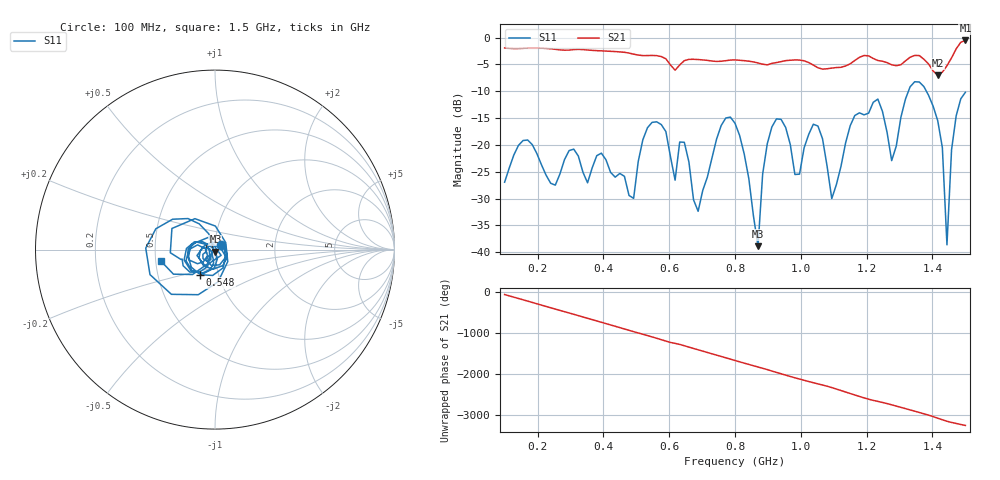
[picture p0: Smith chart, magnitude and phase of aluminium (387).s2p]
! NanoVNA-App
! Date: 2025-09-25 14:58:17
! Start: 100MHz Stop: 1,5GHz Points: 101
! S-Parameter data: F S11 S21 S12 S22
# Hz S RI R 50
!  Frequency  S11_Real  S11_Imag  S21_Real  S21_Imag  S12_Real  S12_Imag  S22_Real  S22_Imag
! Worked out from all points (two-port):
!   101 points, 100 MHz to 1.5 GHz, reference 50 ohm
!   highest |S21| = -0.52 dB at 1.5 GHz (marker M1); lowest = -7.0 dB at 1.416 GHz (marker M2)
!   |S21| within 3 dB of the highest: start of sweep to 575.5 MHz; 1.46 GHz to end of sweep (the widest 2 of 4)
!   lowest |S11| = -38.9 dB at 870 MHz (marker M3), VSWR 1.02, Z = 50.2 - j1.12 ohm
!   |S11| at or under -10 dB: start of sweep to 1.327 GHz; 1.382 GHz to end of sweep
!   S12 and S22 are empty: the file has one direction only
!   S11 on the Smith chart (normalised r, x): 100 MHz: 1.07, +0.06; 548 MHz: 0.82, -0.24; 1.5 GHz: 0.53, -0.07
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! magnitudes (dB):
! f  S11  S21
! 100 MHz  -27.0  -1.9
! 156 MHz  -19.2  -2.0
! 338 MHz  -25.1  -2.2
! 492 MHz  -30.0  -3.1
! 548 MHz  -15.8  -3.3
! 576 MHz  -16.2  -3.5
! 618 MHz  -26.6  -6.1
! 646 MHz  -19.5  -4.3
! 688 MHz  -32.4  -4.1
! 800 MHz  -16.0  -4.1
! 870 MHz  -38.9  -4.7
! 912 MHz  -16.6  -4.8
! 982 MHz  -25.5  -4.1
! 1.038 GHz  -16.1  -5.1
! 1.094 GHz  -30.0  -5.7
! 1.234 GHz  -11.5  -4.3
! 1.276 GHz  -22.9  -5.1
! 1.346 GHz  -8.2  -3.3
! 1.416 GHz  -15.5  -7.0
! 1.444 GHz  -38.6  -5.2
! 1.458 GHz  -20.9  -3.8
! 1.5 GHz  -10.2  -0.5
